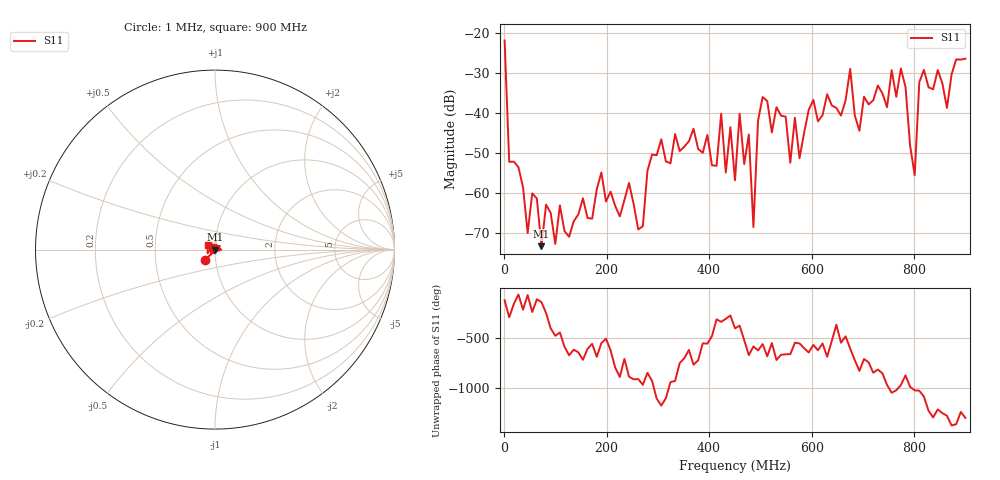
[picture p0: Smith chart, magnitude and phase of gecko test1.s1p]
! File created by NanoVNA (https://gen111.taobao.com/)
! Start 1000000Hz  Stop 899999800Hz  Points 101
# HZ S MA R 50
!S - Parameter data, F S11
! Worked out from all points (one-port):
!   101 points, 1 MHz to 900 MHz, reference 50 ohm
!   lowest |S11| = -73.2 dB at 72.92 MHz (marker M1), VSWR 1.00, Z = 50 - j0.0106 ohm
!   |S11| at or under -10 dB: start of sweep to end of sweep
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1000000  0.0798 -132.2
9989900  0.002459 59.5
7.29199e7  0.000219 -151.0
1.178699e8  0.0003366 129.1
2.347399e8  0.0008216 10.2
2.706999e8  0.0003878 114.1
2.886799e8  0.003027 152.4
3.426199e8  0.00335 -32.0
4.145399e8  0.002194 39.9
4.235299e8  0.009766 15.1
4.504999e8  0.001451 -49.3
4.594898e8  0.009756 -22.4
4.774698e8  0.005379 47.0
4.864598e8  0.0003781 132.9
4.954498e8  0.008002 93.2
5.044398e8  0.01575 155.7
5.583798e8  0.002399 56.4
5.673698e8  0.008688 168.8
5.763598e8  0.002725 162.7
6.752498e8  0.03528 111.0
6.842398e8  0.009258 -3.1
7.741398e8  0.03571 111.4
7.921198e8  0.003921 93.9
8.011098e8  0.00167 60.1
8.100998e8  0.02415 55.6
8.190898e8  0.03436 -2.3
8.640398e8  0.01154 168.8
8.999998e8  0.04735 148.0
